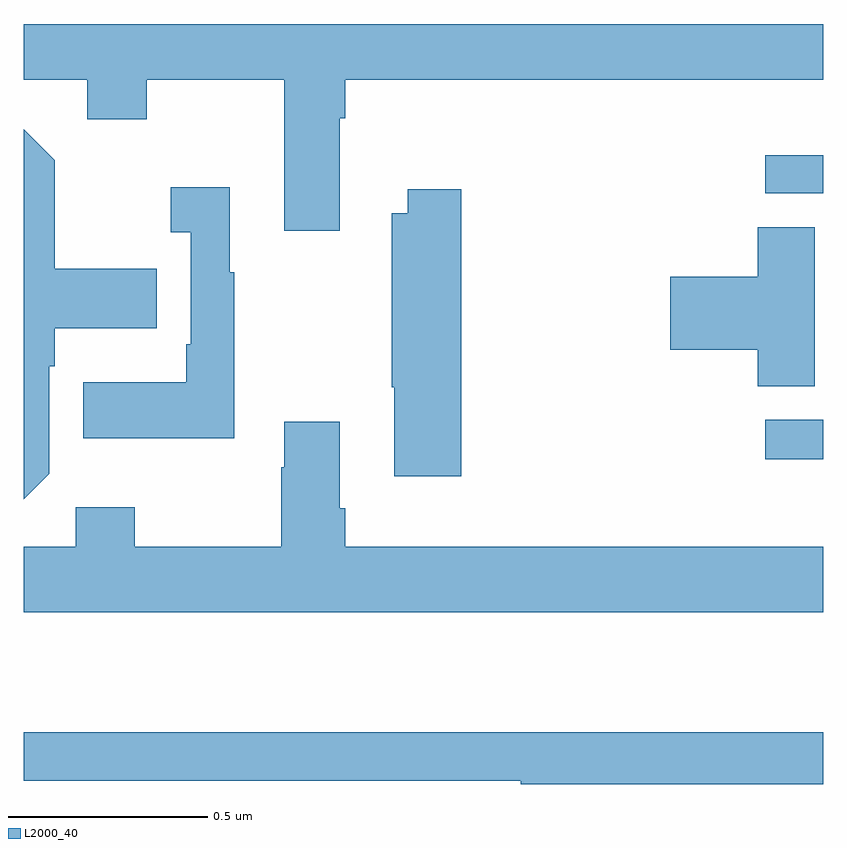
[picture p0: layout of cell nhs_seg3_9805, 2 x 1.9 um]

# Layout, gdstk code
import gdstk
lib = gdstk.Library(unit=1e-6, precision=1e-09)
def R(c, l, rs):  # rectangles x0, y0, x1, y1
    for r in rs: c.add(gdstk.rectangle(r[:2], r[2:], *l))
def P(c, l, *ps):  # polygons
    for p in ps: c.add(gdstk.Polygon(p, *l))
L2000_40 = (2000, 40)

nhs_seg3_9805 = lib.new_cell('nhs_seg3_9805')
R(nhs_seg3_9805, L2000_40, [(234.855,689.311,235,689.409), (234.855,689.976,235,690.072)])
P(nhs_seg3_9805, L2000_40, [(233,690.26),(233.159,690.26),(233.159,690.161),(233.307,690.161),(233.307,690.26),(233.651,690.26),(233.651,689.883),(233.791,689.883),(233.791,690.164),(233.804,690.164),(233.804,690.26),(235,690.26),(235,690.4),(233,690.4)],
  [(233.064,689.274),(233.064,689.543),(233.077,689.543),(233.077,689.639),(233.333,689.639),(233.333,689.787),(233.077,689.787),(233.077,690.059),(233,690.136),(233,689.21)],
  [(233.527,689.779),(233.515,689.779),(233.515,689.992),(233.367,689.992),(233.367,689.879),(233.418,689.879),(233.418,689.599),(233.406,689.599),(233.406,689.503),(233.149,689.503),(233.149,689.363),(233.527,689.363)],
  [(234.095,689.986),(233.96,689.986),(233.96,689.926),(233.92,689.926),(233.92,689.491),(233.927,689.491),(233.927,689.268),(234.095,689.268)],
  [(234.979,689.891),(234.836,689.891),(234.836,689.768),(234.618,689.768),(234.618,689.585),(234.836,689.585),(234.836,689.494),(234.979,689.494)],
  [(235,689.092),(233.804,689.092),(233.804,689.188),(233.791,689.188),(233.791,689.404),(233.651,689.404),(233.651,689.291),(233.644,689.291),(233.644,689.092),(233.277,689.092),(233.277,689.191),(233.13,689.191),(233.13,689.092),(233,689.092),(233,688.928),(235,688.928)],
  [(235,688.627),(233,688.627),(233,688.506),(234.244,688.506),(234.244,688.498),(235,688.498)])

lib.write_gds('nhs_seg3_9805.gds')
